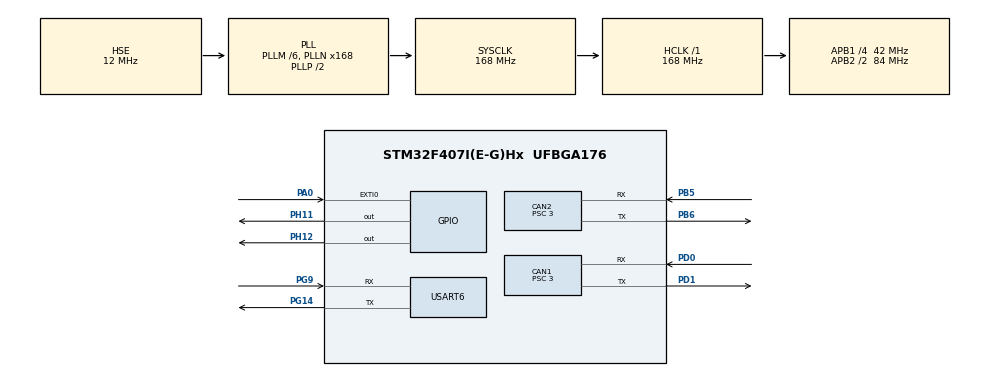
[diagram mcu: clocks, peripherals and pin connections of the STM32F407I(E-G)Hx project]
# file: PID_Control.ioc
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CAN1.BS1=CAN_BS1_10TQ
CAN1.BS2=CAN_BS2_3TQ
CAN1.CalculateBaudRate=1000000
CAN1.CalculateTimeBit=1000
CAN1.CalculateTimeQuantum=71.42857142857143
CAN1.Prescaler=3
CAN2.BS1=CAN_BS1_10TQ
CAN2.BS2=CAN_BS2_3TQ
CAN2.CalculateBaudRate=1000000
CAN2.CalculateTimeBit=1000
CAN2.CalculateTimeQuantum=71.42857142857143
CAN2.Prescaler=3
Dma.Request0=USART6_RX
Dma.Request1=USART6_TX
Dma.USART6_RX.0.Direction=DMA_PERIPH_TO_MEMORY
Dma.USART6_RX.0.FIFOMode=DMA_FIFOMODE_DISABLE
Dma.USART6_RX.0.Instance=DMA2_Stream1
Dma.USART6_RX.0.MemDataAlignment=DMA_MDATAALIGN_BYTE
Dma.USART6_RX.0.MemInc=DMA_MINC_ENABLE
Dma.USART6_RX.0.Mode=DMA_NORMAL
Dma.USART6_RX.0.PeriphDataAlignment=DMA_PDATAALIGN_BYTE
Dma.USART6_RX.0.PeriphInc=DMA_PINC_DISABLE
Dma.USART6_RX.0.Priority=DMA_PRIORITY_VERY_HIGH
Dma.USART6_TX.1.Direction=DMA_MEMORY_TO_PERIPH
Dma.USART6_TX.1.FIFOMode=DMA_FIFOMODE_DISABLE
Dma.USART6_TX.1.Instance=DMA2_Stream6
Dma.USART6_TX.1.MemDataAlignment=DMA_MDATAALIGN_BYTE
Dma.USART6_TX.1.MemInc=DMA_MINC_ENABLE
Dma.USART6_TX.1.Mode=DMA_NORMAL
Dma.USART6_TX.1.PeriphDataAlignment=DMA_PDATAALIGN_BYTE
Dma.USART6_TX.1.PeriphInc=DMA_PINC_DISABLE
Dma.USART6_TX.1.Priority=DMA_PRIORITY_VERY_HIGH
Mcu.Family=STM32F4
Mcu.Name=STM32F407I(E-G)Hx
Mcu.Package=UFBGA176
NVIC.CAN1_RX0_IRQn=true\:0\:0\:false\:false\:true\:true\:true\:true
NVIC.CAN1_RX1_IRQn=true\:0\:0\:false\:false\:true\:true\:true\:true
NVIC.CAN2_RX0_IRQn=true\:0\:0\:false\:false\:true\:true\:true\:true
NVIC.CAN2_RX1_IRQn=true\:0\:0\:false\:false\:true\:true\:true\:true
NVIC.DMA2_Stream1_IRQn=true\:0\:0\:false\:false\:true\:false\:true\:true
NVIC.DMA2_Stream6_IRQn=true\:0\:0\:false\:false\:true\:false\:true\:true
NVIC.EXTI0_IRQn=true\:0\:0\:false\:false\:true\:true\:true\:true
NVIC.PriorityGroup=NVIC_PRIORITYGROUP_4
NVIC.TIM1_UP_TIM10_IRQn=true\:0\:0\:false\:false\:true\:true\:true\:true
NVIC.TIM2_IRQn=true\:0\:0\:false\:false\:true\:true\:true\:true
NVIC.USART6_IRQn=true\:0\:0\:false\:false\:true\:true\:true\:true
PA0-WKUP.GPIO_ModeDefaultEXTI=GPIO_MODE_IT_FALLING
PA0-WKUP.GPIO_PuPd=GPIO_PULLUP
PA0-WKUP.Signal=GPXTI0
PA13.Mode=Serial_Wire
PA13.Signal=SYS_JTMS-SWDIO
PA14.Mode=Serial_Wire
PA14.Signal=SYS_JTCK-SWCLK
PB5.Mode=CAN_Activate
PB5.Signal=CAN2_RX
PB6.Mode=CAN_Activate
PB6.Signal=CAN2_TX
PD0.Mode=CAN_Activate
PD0.Signal=CAN1_RX
PD1.Mode=CAN_Activate
PD1.Signal=CAN1_TX
PG14.Mode=Asynchronous
PG14.Signal=USART6_TX
PG9.Mode=Asynchronous
PG9.Signal=USART6_RX
PH0-OSC_IN.Mode=HSE-External-Oscillator
PH0-OSC_IN.Signal=RCC_OSC_IN
PH1-OSC_OUT.Mode=HSE-External-Oscillator
PH1-OSC_OUT.Signal=RCC_OSC_OUT
PH11.Signal=GPIO_Output
PH12.PinState=GPIO_PIN_RESET
PH12.Signal=GPIO_Output
ProjectManager.HeapSize=0x200
ProjectManager.StackSize=0x400
ProjectManager.TargetToolchain=MDK-ARM V5.32
RCC.48MHZClocksFreq_Value=84000000
RCC.AHBFreq_Value=168000000
RCC.APB1CLKDivider=RCC_HCLK_DIV4
RCC.APB1Freq_Value=42000000
RCC.APB1TimFreq_Value=84000000
RCC.APB2CLKDivider=RCC_HCLK_DIV2
RCC.APB2Freq_Value=84000000
RCC.APB2TimFreq_Value=168000000
RCC.CortexFreq_Value=168000000
RCC.HCLKFreq_Value=168000000
RCC.HSE_VALUE=12000000
RCC.HSI_VALUE=16000000
RCC.LSE_VALUE=32768
RCC.PLLM=6
RCC.PLLN=168
RCC.PLLSourceVirtual=RCC_PLLSOURCE_HSE
RCC.SYSCLKFreq_VALUE=168000000
RCC.SYSCLKSource=RCC_SYSCLKSOURCE_PLLCLK
RCC.VCOOutputFreq_Value=336000000
TIM1.Period=999
TIM1.Prescaler=16799
TIM2.Period=999
TIM2.Prescaler=1679
USART6.VirtualMode=VM_ASYNC
VP_TIM1_VS_ClockSourceINT.Mode=Internal
VP_TIM2_VS_ClockSourceINT.Mode=Internal
board=custom

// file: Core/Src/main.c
/* USER CODE BEGIN Header */
/**
  ******************************************************************************
  * @file           : main.c
  * @brief          : Main program body
  ******************************************************************************
  * @attention
  *
  * Copyright (c) 2025 STMicroelectronics.
  * All rights reserved.
  *
  * This software is licensed under terms that can be found in the LICENSE file
  * in the root directory of this software component.
  * If no LICENSE file comes with this software, it is provided AS-IS.
  *
  ******************************************************************************
  */
/* USER CODE END Header */
#include "main.h"
#include "can.h"
#include "dma.h"
#include "stm32f4xx_hal.h"
#include "tim.h"
#include "usart.h"
#include "gpio.h"

/* USER CODE BEGIN Includes */
#include "CAN_receive.h"
#include "pid_control.h"
#include "bsp_can.h"
#include "serialplot.h"
#include <stdint.h>
/* USER CODE END Includes */

/* USER CODE BEGIN PD */
uint8_t exti_flag=0;
float output=0;
/* USER CODE END PD */

void SystemClock_Config(void);

int main(void)
{

  /* MCU Configuration--------------------------------------------------------*/

  /* Reset of all peripherals, Initializes the Flash interface and the Systick. */
  HAL_Init();

  /* Configure the system clock */
  SystemClock_Config();

  /* Initialize all configured peripherals */
  MX_GPIO_Init();
  MX_DMA_Init();
  MX_CAN1_Init();
  MX_CAN2_Init();
  MX_USART6_UART_Init();
  MX_TIM1_Init();
  MX_TIM2_Init();
  /* USER CODE BEGIN 2 */
  HAL_TIM_Base_Start_IT(&htim1);
	HAL_TIM_Base_Start_IT(&htim2);
	HAL_UART_Init(&huart6);
	can_filter_init();
  /* USER CODE END 2 */

  /* Infinite loop */
  /* USER CODE BEGIN WHILE */
  while (1)
  {
		switch(exti_flag){
			case 0:HAL_GPIO_WritePin(GPIOH,GPIO_PIN_12,GPIO_PIN_SET);
      CAN_cmd_chassis(output,0,0,0);
      HAL_Delay(10);break;
		  case 1:HAL_GPIO_WritePin(GPIOH,GPIO_PIN_12,GPIO_PIN_RESET);
      CAN_cmd_chassis(0,0,0,0);
		}

    /* USER CODE END WHILE */

  }
}

void SystemClock_Config(void)
{
  RCC_OscInitTypeDef RCC_OscInitStruct = {0};
  RCC_ClkInitTypeDef RCC_ClkInitStruct = {0};

  /** Configure the main internal regulator output voltage
  */
  __HAL_RCC_PWR_CLK_ENABLE();
  __HAL_PWR_VOLTAGESCALING_CONFIG(PWR_REGULATOR_VOLTAGE_SCALE1);

  /** Initializes the RCC Oscillators according to the specified parameters
  * in the RCC_OscInitTypeDef structure.
  */
  RCC_OscInitStruct.OscillatorType = RCC_OSCILLATORTYPE_HSE;
  RCC_OscInitStruct.HSEState = RCC_HSE_ON;
  RCC_OscInitStruct.PLL.PLLState = RCC_PLL_ON;
  RCC_OscInitStruct.PLL.PLLSource = RCC_PLLSOURCE_HSE;
  RCC_OscInitStruct.PLL.PLLM = 6;
  RCC_OscInitStruct.PLL.PLLN = 168;
  RCC_OscInitStruct.PLL.PLLP = RCC_PLLP_DIV2;
  RCC_OscInitStruct.PLL.PLLQ = 4;
  if (HAL_RCC_OscConfig(&RCC_OscInitStruct) != HAL_OK)
  {
    Error_Handler();
  }

  /** Initializes the CPU, AHB and APB buses clocks
  */
  RCC_ClkInitStruct.ClockType = RCC_CLOCKTYPE_HCLK|RCC_CLOCKTYPE_SYSCLK
                              |RCC_CLOCKTYPE_PCLK1|RCC_CLOCKTYPE_PCLK2;
  RCC_ClkInitStruct.SYSCLKSource = RCC_SYSCLKSOURCE_PLLCLK;
  RCC_ClkInitStruct.AHBCLKDivider = RCC_SYSCLK_DIV1;
  RCC_ClkInitStruct.APB1CLKDivider = RCC_HCLK_DIV4;
  RCC_ClkInitStruct.APB2CLKDivider = RCC_HCLK_DIV2;

  if (HAL_RCC_ClockConfig(&RCC_ClkInitStruct, FLASH_LATENCY_5) != HAL_OK)
  {
    Error_Handler();
  }
}

/* USER CODE BEGIN 4 */
void HAL_TIM_PeriodElapsedCallback(TIM_HandleTypeDef *htim)
{
  if (htim->Instance == TIM1) // 定时器触发发送
  {
     if (!serialplot_dma_busy)
     {
         int8_t *buf = get_UART_TX_DATA_ptr();
         uint16_t len = get_UART_TX_DATA_size();
			   HAL_UART_Transmit_DMA(&huart6,buf,len);
         if (HAL_UART_Transmit_DMA(&huart6, buf, len) == HAL_OK)
         {
             serialplot_dma_busy = 1; // 置忙，等待 HAL_UART_TxCpltCallback 清零
         }
         else
         {
             // 发送失败，可根据需要处理错误或重试
         }
     }
  }
  if(htim->Instance==TIM2){//计时器2中断，PID计算
  HAL_GPIO_TogglePin(GPIOH,GPIO_PIN_11);
   static PID_Controller pid1;
   PID_Init_speed(&pid1, 0.5f, 0.5f, 0.1f);// 初始化PID控制器, 设置Kp, Ki, Kd, 积分限幅和误差限幅
   const motor_measure_t *motor = get_chassis_motor_measure_point(0);
   int16_t measured_value = motor->speed_rpm; // 获取实际速度
   output=PID_Compute_speed(&pid1, 8000, (float)measured_value, 1000.0f, 100.0f); // 100为目标速度,获取实际电流值用于输出

   }
}
//0 e=8000,p=1,i=0,d=0.05,

void HAL_GPIO_EXTI_Callback(uint16_t GPIO_Pin)
{
	switch(GPIO_Pin)
	{
		case GPIO_PIN_0:
		{
	  exti_flag=(exti_flag+1)%2;
		}break;
		default:break;
	}
}

/* USER CODE END 4 */

void Error_Handler(void)
{
  __disable_irq();
  while (1)
  {
  }
}
